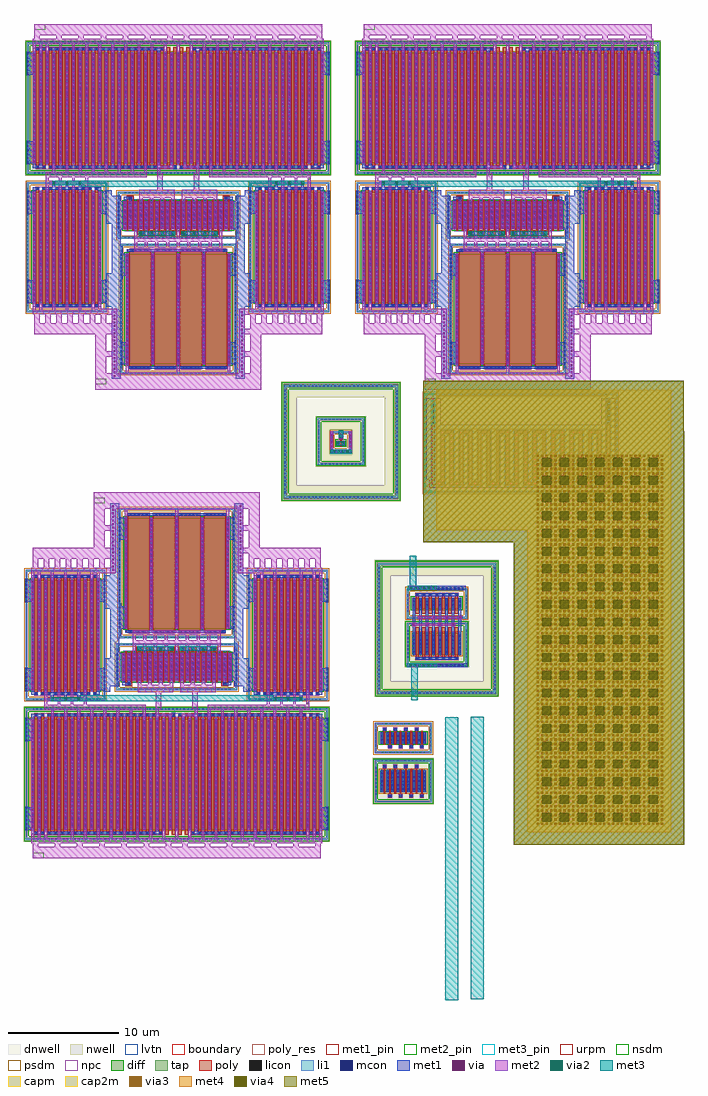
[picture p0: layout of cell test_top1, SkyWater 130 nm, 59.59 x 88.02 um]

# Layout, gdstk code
import gdstk
lib = gdstk.Library(unit=1e-6, precision=1e-09)
def R(c, l, rs):  # rectangles x0, y0, x1, y1
    for r in rs: c.add(gdstk.rectangle(r[:2], r[2:], *l))
def A(c, l, x, y, w, h, nx, ny, dx, dy):  # array of equal rectangles
    R(c, l, [(x+i*dx, y+j*dy, x+i*dx+w, y+j*dy+h) for i in range(nx) for j in range(ny)])
dnwell = (64, 18)
nwell = (64, 20)
diff = (65, 20)
tap = (65, 44)
poly_res = (66, 13)
poly = (66, 20)
licon = (66, 44)
li1 = (67, 20)
mcon = (67, 44)
met1_pin = (68, 16)
met1 = (68, 20)
via = (68, 44)
met2_pin = (69, 16)
met2 = (69, 20)
via2 = (69, 44)
met3_pin = (70, 16)
met3 = (70, 20)
via3 = (70, 44)
met4 = (71, 20)
via4 = (71, 44)
met5 = (72, 20)
urpm = (79, 20)
capm = (89, 44)
nsdm = (93, 44)
psdm = (94, 20)
npc = (95, 20)
cap2m = (97, 44)
lvtn = (125, 44)
boundary = (235, 4)

sky130_fd_pr__pfet_01v8_ = lib.new_cell('sky130_fd_pr__pfet_01v8_U4PWGH')
R(sky130_fd_pr__pfet_01v8_, nwell, [(-2.755,-2.095,2.755,2.095)])
R(sky130_fd_pr__pfet_01v8_, diff, [(-2.065,-1,2.065,1)])
R(sky130_fd_pr__pfet_01v8_, tap, [(-2.575,-1.915,2.575,-1.745), (-2.575,-1.745,-2.405,1.745), (2.405,-1.745,2.575,1.745), (-2.575,1.745,2.575,1.915)])
A(sky130_fd_pr__pfet_01v8_, poly, -1.845, -1.485, 0.33, 0.33, 4, 1, 0.96, 0)
A(sky130_fd_pr__pfet_01v8_, poly, -1.755, -1.155, 0.15, 2.285, 4, 1, 0.96, 0)
A(sky130_fd_pr__pfet_01v8_, poly, -1.275, -1.13, 0.15, 2.285, 4, 1, 0.96, 0)
A(sky130_fd_pr__pfet_01v8_, poly, -1.365, 1.155, 0.33, 0.33, 4, 1, 0.96, 0)
A(sky130_fd_pr__pfet_01v8_, licon, -1.955, -1.915, 0.17, 0.17, 12, 2, 0.34, 3.66)
A(sky130_fd_pr__pfet_01v8_, licon, -1.765, -1.405, 0.17, 0.17, 4, 1, 0.96, 0)
A(sky130_fd_pr__pfet_01v8_, licon, -2.575, -1.275, 0.17, 0.17, 1, 8, 0, 0.34)
A(sky130_fd_pr__pfet_01v8_, licon, 2.405, -1.275, 0.17, 0.17, 1, 8, 0, 0.34)
A(sky130_fd_pr__pfet_01v8_, licon, -2.005, -0.935, 0.17, 0.17, 9, 6, 0.48, 0.34)
A(sky130_fd_pr__pfet_01v8_, licon, -1.285, 1.235, 0.17, 0.17, 4, 1, 0.96, 0)
A(sky130_fd_pr__pfet_01v8_, li1, -1.845, -1.405, 0.33, 0.17, 4, 1, 0.96, 0)
A(sky130_fd_pr__pfet_01v8_, li1, -2.005, -1.02, 0.17, 2.04, 9, 1, 0.48, 0)
A(sky130_fd_pr__pfet_01v8_, li1, -1.365, 1.235, 0.33, 0.17, 4, 1, 0.96, 0)
R(sky130_fd_pr__pfet_01v8_, li1, [(-2.575,-1.915,2.575,-1.745), (-2.575,-1.745,-2.405,1.745), (2.405,-1.745,2.575,1.745), (-2.575,1.745,2.575,1.915)])
A(sky130_fd_pr__pfet_01v8_, mcon, -1.765, -1.405, 0.17, 0.17, 4, 1, 0.96, 0)
A(sky130_fd_pr__pfet_01v8_, mcon, -2.005, -0.805, 0.17, 0.17, 9, 5, 0.48, 0.36)
A(sky130_fd_pr__pfet_01v8_, mcon, -1.285, 1.235, 0.17, 0.17, 4, 1, 0.96, 0)
A(sky130_fd_pr__pfet_01v8_, met1, -1.825, -1.435, 0.29, 0.23, 4, 1, 0.96, 0)
A(sky130_fd_pr__pfet_01v8_, met1, -2.035, -1, 0.23, 2, 9, 1, 0.48, 0)
A(sky130_fd_pr__pfet_01v8_, met1, -1.345, 1.205, 0.29, 0.23, 4, 1, 0.96, 0)
R(sky130_fd_pr__pfet_01v8_, nsdm, [(-2.7,-2.04,2.7,-1.62), (-2.7,-1.62,-2.28,1.62), (2.28,-1.62,2.7,1.62), (-2.7,1.62,2.7,2.04)])
R(sky130_fd_pr__pfet_01v8_, psdm, [(-2.19,-1.125,2.19,1.125)])
A(sky130_fd_pr__pfet_01v8_, npc, -1.865, -1.505, 0.37, 0.37, 4, 1, 0.96, 0)
A(sky130_fd_pr__pfet_01v8_, npc, -1.385, 1.135, 0.37, 0.37, 4, 1, 0.96, 0)
R(sky130_fd_pr__pfet_01v8_, boundary, [(-2.49,-1.83,2.49,1.83)])

sky130_fd_pr__nfet_01v8_ = lib.new_cell('sky130_fd_pr__nfet_01v8_NMSMYT')
R(sky130_fd_pr__nfet_01v8_, diff, [(-2.065,-0.5,2.065,0.5)])
R(sky130_fd_pr__nfet_01v8_, tap, [(-2.575,-1.37,2.575,-1.2), (-2.575,-1.2,-2.405,1.2), (2.405,-1.2,2.575,1.2), (-2.575,1.2,2.575,1.37)])
A(sky130_fd_pr__nfet_01v8_, poly, -1.845, -0.94, 0.33, 0.33, 4, 1, 0.96, 0)
A(sky130_fd_pr__nfet_01v8_, poly, -1.275, -0.63, 0.15, 1.24, 4, 1, 0.96, 0)
A(sky130_fd_pr__nfet_01v8_, poly, -1.755, -0.61, 0.15, 1.24, 4, 1, 0.96, 0)
A(sky130_fd_pr__nfet_01v8_, poly, -1.365, 0.61, 0.33, 0.33, 4, 1, 0.96, 0)
A(sky130_fd_pr__nfet_01v8_, licon, -1.955, -1.37, 0.17, 0.17, 12, 2, 0.34, 2.57)
A(sky130_fd_pr__nfet_01v8_, licon, -1.765, -0.86, 0.17, 0.17, 4, 1, 0.96, 0)
A(sky130_fd_pr__nfet_01v8_, licon, -2.575, -0.765, 0.17, 0.17, 1, 5, 0, 0.34)
A(sky130_fd_pr__nfet_01v8_, licon, 2.405, -0.765, 0.17, 0.17, 1, 5, 0, 0.34)
A(sky130_fd_pr__nfet_01v8_, licon, -2.005, -0.425, 0.17, 0.17, 9, 3, 0.48, 0.34)
A(sky130_fd_pr__nfet_01v8_, licon, -1.285, 0.69, 0.17, 0.17, 4, 1, 0.96, 0)
A(sky130_fd_pr__nfet_01v8_, li1, -1.845, -0.86, 0.33, 0.17, 4, 1, 0.96, 0)
A(sky130_fd_pr__nfet_01v8_, li1, -2.005, -0.52, 0.17, 1.04, 9, 1, 0.48, 0)
A(sky130_fd_pr__nfet_01v8_, li1, -1.365, 0.69, 0.33, 0.17, 4, 1, 0.96, 0)
R(sky130_fd_pr__nfet_01v8_, li1, [(-2.575,-1.37,2.575,-1.2), (-2.575,-1.2,-2.405,1.2), (2.405,-1.2,2.575,1.2), (-2.575,1.2,2.575,1.37)])
A(sky130_fd_pr__nfet_01v8_, mcon, -1.765, -0.86, 0.17, 0.17, 4, 1, 0.96, 0)
A(sky130_fd_pr__nfet_01v8_, mcon, -2.005, -0.265, 0.17, 0.17, 9, 2, 0.48, 0.36)
A(sky130_fd_pr__nfet_01v8_, mcon, -1.285, 0.69, 0.17, 0.17, 4, 1, 0.96, 0)
A(sky130_fd_pr__nfet_01v8_, met1, -1.825, -0.89, 0.29, 0.23, 4, 1, 0.96, 0)
A(sky130_fd_pr__nfet_01v8_, met1, -2.035, -0.5, 0.23, 1, 9, 1, 0.48, 0)
A(sky130_fd_pr__nfet_01v8_, met1, -1.345, 0.66, 0.29, 0.23, 4, 1, 0.96, 0)
R(sky130_fd_pr__nfet_01v8_, nsdm, [(-2.19,-0.625,2.19,0.625)])
R(sky130_fd_pr__nfet_01v8_, psdm, [(-2.7,-1.495,2.7,-1.075), (-2.7,-1.075,-2.28,1.075), (2.28,-1.075,2.7,1.075), (-2.7,1.075,2.7,1.495)])
A(sky130_fd_pr__nfet_01v8_, npc, -1.865, -0.96, 0.37, 0.37, 4, 1, 0.96, 0)
A(sky130_fd_pr__nfet_01v8_, npc, -1.385, 0.59, 0.37, 0.37, 4, 1, 0.96, 0)
R(sky130_fd_pr__nfet_01v8_, boundary, [(-2.49,-1.285,2.49,1.285)])

cmota_1_flat_1 = lib.new_cell('cmota_1_flat_1')
R(cmota_1_flat_1, nwell, [(-0.815,0.33,26.815,12.52)])
R(cmota_1_flat_1, diff, [(8.275,-16.7,17.725,-6.7), (-0.13,-11.12,6.06,-1.12), (19.935,-11.12,26.125,-1.12), (8.055,-4.5,17.945,-2), (-0.125,1.425,26.125,11.425)])
R(cmota_1_flat_1, tap, [(7.765,-17.57,18.235,-17.4), (7.765,-17.4,7.935,-6), (18.065,-17.4,18.235,-6), (-0.64,-11.99,6.57,-11.82), (19.425,-11.99,26.635,-11.82), (-0.64,-11.82,-0.47,-0.42), (6.4,-11.82,6.57,-0.42), (19.425,-11.82,19.595,-0.42), (26.465,-11.82,26.635,-0.42), (7.765,-6,18.235,-5.83), (7.545,-5.37,18.455,-5.2), (7.545,-5.2,7.715,-1.3), (18.285,-5.2,18.455,-1.3), (7.545,-1.3,18.455,-1.13), (-0.64,-0.42,6.57,-0.25), (19.425,-0.42,26.635,-0.25), (-0.635,0.51,26.635,0.68), (-0.635,0.68,-0.465,12.17), (26.465,0.68,26.635,12.17), (-0.635,12.17,26.635,12.34)])
A(cmota_1_flat_1, poly, 8.565, -17.14, 2, 10.88, 4, 1, 2.29, 0)
A(cmota_1_flat_1, poly, 0.145, -11.56, 0.33, 0.33, 10, 2, 0.59, 10.55)
A(cmota_1_flat_1, poly, 20.21, -11.56, 0.33, 0.33, 10, 2, 0.59, 10.55)
A(cmota_1_flat_1, poly, 0.16, -11.23, 0.3, 10.22, 10, 1, 0.59, 0)
A(cmota_1_flat_1, poly, 20.225, -11.23, 0.3, 10.22, 10, 1, 0.59, 0)
A(cmota_1_flat_1, poly, 9.325, -5, 0.63, 0.39, 8, 1, 0.96, 0)
A(cmota_1_flat_1, poly, 9.325, -4.61, 0.15, 2.74, 16, 1, 0.48, 0)
A(cmota_1_flat_1, poly, 0.15, 0.94, 0.33, 0.33, 44, 2, 0.59, 10.64)
A(cmota_1_flat_1, poly, 0.165, 1.27, 0.3, 10.31, 44, 1, 0.59, 0)
R(cmota_1_flat_1, poly, [(8.365,-4.63,8.515,-1.87), (8.845,-4.63,8.995,-1.87), (17.005,-4.63,17.155,-1.87), (17.485,-4.63,17.635,-1.87), (8.365,-1.87,8.995,-1.48), (17.005,-1.87,17.635,-1.48)])
A(cmota_1_flat_1, licon, 8.325, -17.57, 0.17, 0.17, 28, 2, 0.34, 11.57)
A(cmota_1_flat_1, licon, 8.8, -17.06, 0.17, 0.17, 5, 2, 0.34, 10.55)
A(cmota_1_flat_1, licon, 11.09, -17.06, 0.17, 0.17, 5, 2, 0.34, 10.55)
A(cmota_1_flat_1, licon, 13.38, -17.06, 0.17, 0.17, 5, 2, 0.34, 10.55)
A(cmota_1_flat_1, licon, 15.67, -17.06, 0.17, 0.17, 5, 2, 0.34, 10.55)
A(cmota_1_flat_1, licon, 7.765, -17.055, 0.17, 0.17, 1, 32, 0, 0.34)
A(cmota_1_flat_1, licon, 18.065, -17.055, 0.17, 0.17, 1, 32, 0, 0.34)
A(cmota_1_flat_1, licon, 8.335, -16.545, 0.17, 0.17, 5, 29, 2.29, 0.34)
A(cmota_1_flat_1, licon, -0.01, -11.99, 0.17, 0.17, 18, 2, 0.34, 11.57)
A(cmota_1_flat_1, licon, 20.055, -11.99, 0.17, 0.17, 18, 2, 0.34, 11.57)
A(cmota_1_flat_1, licon, 0.225, -11.48, 0.17, 0.17, 10, 2, 0.59, 10.55)
A(cmota_1_flat_1, licon, 20.29, -11.48, 0.17, 0.17, 10, 2, 0.59, 10.55)
A(cmota_1_flat_1, licon, -0.64, -11.475, 0.17, 0.17, 1, 32, 0, 0.34)
A(cmota_1_flat_1, licon, 6.4, -11.475, 0.17, 0.17, 1, 32, 0, 0.34)
A(cmota_1_flat_1, licon, 19.425, -11.475, 0.17, 0.17, 1, 32, 0, 0.34)
A(cmota_1_flat_1, licon, 26.465, -11.475, 0.17, 0.17, 1, 32, 0, 0.34)
A(cmota_1_flat_1, licon, -0.07, -10.965, 0.17, 0.17, 11, 29, 0.59, 0.34)
A(cmota_1_flat_1, licon, 19.995, -10.965, 0.17, 0.17, 11, 29, 0.59, 0.34)
A(cmota_1_flat_1, licon, 8.155, -5.37, 0.17, 0.17, 29, 2, 0.34, 4.07)
A(cmota_1_flat_1, licon, 9.555, -4.92, 0.17, 0.17, 8, 1, 0.96, 0)
A(cmota_1_flat_1, licon, 7.545, -4.865, 0.17, 0.17, 1, 10, 0, 0.34)
A(cmota_1_flat_1, licon, 18.285, -4.865, 0.17, 0.17, 1, 10, 0, 0.34)
A(cmota_1_flat_1, licon, 8.115, -4.355, 0.17, 0.17, 21, 7, 0.48, 0.34)
A(cmota_1_flat_1, licon, -0.005, 0.51, 0.17, 0.17, 77, 2, 0.34, 11.66)
A(cmota_1_flat_1, licon, 0.23, 1.02, 0.17, 0.17, 44, 1, 0.59, 0)
A(cmota_1_flat_1, licon, -0.635, 1.07, 0.17, 0.17, 1, 32, 0, 0.34)
A(cmota_1_flat_1, licon, 26.465, 1.07, 0.17, 0.17, 1, 32, 0, 0.34)
A(cmota_1_flat_1, licon, -0.065, 1.58, 0.17, 0.17, 45, 29, 0.59, 0.34)
A(cmota_1_flat_1, licon, 0.23, 11.66, 0.17, 0.17, 20, 1, 0.59, 0)
A(cmota_1_flat_1, licon, 14.39, 11.66, 0.17, 0.17, 20, 1, 0.59, 0)
R(cmota_1_flat_1, licon, [(8.595,-1.79,8.765,-1.62), (17.235,-1.79,17.405,-1.62)])
A(cmota_1_flat_1, li1, 8.565, -17.06, 2, 0.17, 4, 2, 2.29, 10.55)
A(cmota_1_flat_1, li1, 8.335, -16.72, 0.17, 10.04, 5, 1, 2.29, 0)
A(cmota_1_flat_1, li1, 0.145, -11.48, 0.33, 0.17, 10, 2, 0.59, 10.55)
A(cmota_1_flat_1, li1, 20.21, -11.48, 0.33, 0.17, 10, 2, 0.59, 10.55)
A(cmota_1_flat_1, li1, -0.07, -11.14, 0.17, 10.04, 11, 1, 0.59, 0)
A(cmota_1_flat_1, li1, 19.995, -11.14, 0.17, 10.04, 11, 1, 0.59, 0)
A(cmota_1_flat_1, li1, 9.475, -4.92, 0.33, 0.17, 8, 1, 0.96, 0)
A(cmota_1_flat_1, li1, 8.115, -4.52, 0.17, 2.54, 21, 1, 0.48, 0)
A(cmota_1_flat_1, li1, 0.15, 1.02, 0.33, 0.17, 44, 1, 0.59, 0)
A(cmota_1_flat_1, li1, -0.065, 1.405, 0.17, 10.04, 45, 1, 0.59, 0)
A(cmota_1_flat_1, li1, 0.15, 11.66, 0.33, 0.17, 20, 1, 0.59, 0)
A(cmota_1_flat_1, li1, 14.31, 11.66, 0.33, 0.17, 20, 1, 0.59, 0)
R(cmota_1_flat_1, li1, [(7.765,-17.57,18.235,-17.4), (7.765,-17.4,7.935,-6), (18.065,-17.4,18.235,-6), (-0.64,-11.99,6.57,-11.82), (19.425,-11.99,26.635,-11.82), (-0.64,-11.82,-0.47,-0.42), (6.4,-11.82,6.57,-0.42), (19.425,-11.82,19.595,-0.42), (26.465,-11.82,26.635,-0.42), (7.765,-6,18.235,-5.83), (7.545,-5.37,18.455,-5.2), (7.545,-5.2,7.715,-1.3), (18.285,-5.2,18.455,-1.3), (8.515,-1.79,8.845,-1.62), (17.155,-1.79,17.485,-1.62), (7.545,-1.3,18.455,-1.13), (-0.64,-0.42,6.57,-0.25), (19.425,-0.42,26.635,-0.25), (-0.635,0.51,26.635,0.68), (-0.635,0.68,-0.465,12.17), (26.465,0.68,26.635,12.17), (-0.635,12.17,26.635,12.34)])
A(cmota_1_flat_1, mcon, 8.76, -17.06, 0.17, 0.17, 5, 2, 0.36, 10.55)
A(cmota_1_flat_1, mcon, 11.05, -17.06, 0.17, 0.17, 5, 2, 0.36, 10.55)
A(cmota_1_flat_1, mcon, 13.34, -17.06, 0.17, 0.17, 5, 2, 0.36, 10.55)
A(cmota_1_flat_1, mcon, 15.63, -17.06, 0.17, 0.17, 5, 2, 0.36, 10.55)
A(cmota_1_flat_1, mcon, 7.765, -16.685, 0.17, 0.17, 1, 6, 0, 0.36)
A(cmota_1_flat_1, mcon, 18.065, -16.685, 0.17, 0.17, 1, 6, 0, 0.36)
A(cmota_1_flat_1, mcon, 8.335, -16.465, 0.17, 0.17, 5, 27, 2.29, 0.36)
A(cmota_1_flat_1, mcon, 0.225, -11.48, 0.17, 0.17, 10, 2, 0.59, 10.55)
A(cmota_1_flat_1, mcon, 20.29, -11.48, 0.17, 0.17, 10, 2, 0.59, 10.55)
A(cmota_1_flat_1, mcon, -0.64, -11.105, 0.17, 0.17, 1, 6, 0, 0.36)
A(cmota_1_flat_1, mcon, 6.4, -11.105, 0.17, 0.17, 1, 6, 0, 0.36)
A(cmota_1_flat_1, mcon, 19.425, -11.105, 0.17, 0.17, 1, 6, 0, 0.36)
A(cmota_1_flat_1, mcon, 26.465, -11.105, 0.17, 0.17, 1, 6, 0, 0.36)
A(cmota_1_flat_1, mcon, -0.07, -10.885, 0.17, 0.17, 11, 27, 0.59, 0.36)
A(cmota_1_flat_1, mcon, 19.995, -10.885, 0.17, 0.17, 11, 27, 0.59, 0.36)
A(cmota_1_flat_1, mcon, 7.765, -8.685, 0.17, 0.17, 1, 6, 0, 0.36)
A(cmota_1_flat_1, mcon, 18.065, -8.685, 0.17, 0.17, 1, 6, 0, 0.36)
A(cmota_1_flat_1, mcon, 9.555, -4.92, 0.17, 0.17, 8, 1, 0.96, 0)
A(cmota_1_flat_1, mcon, 7.545, -4.415, 0.17, 0.17, 1, 7, 0, 0.36)
A(cmota_1_flat_1, mcon, 8.115, -4.415, 0.17, 0.17, 21, 7, 0.48, 0.36)
A(cmota_1_flat_1, mcon, 18.285, -4.415, 0.17, 0.17, 1, 7, 0, 0.36)
A(cmota_1_flat_1, mcon, -0.64, -3.105, 0.17, 0.17, 1, 6, 0, 0.36)
A(cmota_1_flat_1, mcon, 6.4, -3.105, 0.17, 0.17, 1, 6, 0, 0.36)
A(cmota_1_flat_1, mcon, 19.425, -3.105, 0.17, 0.17, 1, 6, 0, 0.36)
A(cmota_1_flat_1, mcon, 26.465, -3.105, 0.17, 0.17, 1, 6, 0, 0.36)
A(cmota_1_flat_1, mcon, 0.23, 1.02, 0.17, 0.17, 44, 1, 0.59, 0)
A(cmota_1_flat_1, mcon, -0.635, 1.44, 0.17, 0.17, 1, 6, 0, 0.36)
A(cmota_1_flat_1, mcon, 26.465, 1.44, 0.17, 0.17, 1, 6, 0, 0.36)
A(cmota_1_flat_1, mcon, -0.065, 1.66, 0.17, 0.17, 45, 27, 0.59, 0.36)
A(cmota_1_flat_1, mcon, -0.635, 9.44, 0.17, 0.17, 1, 6, 0, 0.36)
A(cmota_1_flat_1, mcon, 26.465, 9.44, 0.17, 0.17, 1, 6, 0, 0.36)
A(cmota_1_flat_1, mcon, 0.23, 11.66, 0.17, 0.17, 20, 1, 0.59, 0)
A(cmota_1_flat_1, mcon, 14.39, 11.66, 0.17, 0.17, 20, 1, 0.59, 0)
R(cmota_1_flat_1, mcon, [(8.595,-1.79,8.765,-1.62), (17.235,-1.79,17.405,-1.62)])
R(cmota_1_flat_1, met1_pin, [(8.36,-6.54,8.485,-6.31)])
A(cmota_1_flat_1, met1, 10.58, -16.7, 0.26, 10, 3, 1, 2.29, 0)
A(cmota_1_flat_1, met1, 0.475, -11.12, 0.26, 10, 9, 1, 0.59, 0)
A(cmota_1_flat_1, met1, 20.54, -11.12, 0.26, 10, 9, 1, 0.59, 0)
A(cmota_1_flat_1, met1, 9.445, -5, 0.39, 0.28, 8, 1, 0.96, 0)
A(cmota_1_flat_1, met1, 8.515, -4.5, 0.33, 2.5, 19, 1, 0.48, 0)
A(cmota_1_flat_1, met1, 1.655, -0.73, 0.26, 0.55, 3, 1, 1.18, 0)
A(cmota_1_flat_1, met1, 21.72, -0.73, 0.26, 0.55, 3, 1, 1.18, 0)
A(cmota_1_flat_1, met1, 1.07, 1.425, 0.26, 10, 17, 1, 0.59, 0)
A(cmota_1_flat_1, met1, 11.69, 1.425, 0.26, 10, 4, 1, 1.18, 0)
A(cmota_1_flat_1, met1, 15.82, 1.425, 0.26, 10, 16, 1, 0.59, 0)
R(cmota_1_flat_1, met1, [(7,-18,7.8,-16.76), (18.2,-18,19,-16.76), (8.585,-17.09,17.415,-16.86), (7,-16.76,7.965,-16.7), (18.035,-16.76,19,-16.7), (7,-16.7,8.55,-14.7), (17.45,-16.7,19,-14.7), (7,-14.7,7.965,-14.64), (8.29,-14.7,8.55,-8.7), (17.45,-14.7,17.71,-8.7), (18.035,-14.7,19,-14.64), (7,-14.64,7.8,-11.5), (18.2,-14.64,19,-11.5), (-0.115,-11.51,0.455,-11.28), (0.755,-11.51,5.175,-11.28), (5.475,-11.51,6.045,-11.28), (19.95,-11.51,20.52,-11.28), (20.82,-11.51,25.24,-11.28), (25.54,-11.51,26.11,-11.28), (6.5,-11.5,7.8,-11.18), (18.2,-11.5,19.5,-11.18), (-0.115,-11.28,0.145,-11.12), (5.785,-11.28,6.045,-11.12), (19.95,-11.28,20.21,-11.12), (25.85,-11.28,26.11,-11.12), (-0.67,-11.18,-0.44,-11.12), (6.37,-11.18,7.8,-11.12), (18.2,-11.18,19.625,-11.12), (26.435,-11.18,26.665,-11.12), (-0.67,-11.12,0.145,-9.12), (5.785,-11.12,7.8,-9.12), (18.2,-11.12,20.21,-9.12), (25.85,-11.12,26.665,-9.12), (-0.67,-9.12,-0.44,-9.06), (-0.115,-9.12,0.145,-3.12), (5.785,-9.12,6.045,-3.12), (6.37,-9.12,7.8,-9.06), (18.2,-9.12,19.625,-9.06), (19.95,-9.12,20.21,-3.12), (25.85,-9.12,26.11,-3.12), (26.435,-9.12,26.665,-9.06), (6.5,-9.06,7.8,-9), (18.2,-9.06,19.5,-8.76), (6.5,-9,8,-8.7), (18.035,-8.76,19.5,-8.7), (6.5,-8.7,8.55,-8.5), (17.45,-8.7,19.5,-8.5), (7,-8.5,8.55,-6.7), (17.45,-8.5,19,-6.7), (7,-6.7,8,-6), (18.035,-6.7,19,-6.64), (18.2,-6.64,19,-4.5), (8.36,-6.54,17.415,-6.31), (7,-6,7.8,-4.5), (7,-4.5,8.365,-4), (17.635,-4.5,19,-4), (6.5,-4,8.365,-3.18), (17.635,-4,19.5,-3.18), (-0.67,-3.18,-0.44,-3.12), (6.37,-3.18,8.365,-3.12), (17.635,-3.18,19.625,-3.12), (26.435,-3.18,26.665,-3.12), (-0.67,-3.12,0.145,-1.12), (5.785,-3.12,8.365,-2), (17.635,-3.12,20.21,-2), (25.85,-3.12,26.665,-1.12), (5.785,-2,7.8,-1.5), (8.085,-2,8.315,-1.82), (8.565,-2,8.795,-1.82), (17.205,-2,17.435,-1.82), (17.685,-2,17.915,-1.82), (18.2,-2,20.21,-1.5), (8.085,-1.82,8.845,-1.59), (17.155,-1.82,17.915,-1.59), (5.785,-1.5,7,-1.12), (19,-1.5,20.21,-1.12), (-0.67,-1.12,-0.44,-1.06), (-0.115,-1.12,0.145,-0.96), (5.785,-1.12,6.045,-0.96), (6.37,-1.12,7,-1.06), (19,-1.12,19.625,-1.06), (19.95,-1.12,20.21,-0.96), (25.85,-1.12,26.11,-0.96), (26.435,-1.12,26.665,-1.06), (6.5,-1.06,7,-1), (19,-1.06,19.5,-1), (-0.115,-0.96,0.455,-0.73), (0.755,-0.96,5.175,-0.73), (5.475,-0.96,6.045,-0.73), (19.95,-0.96,20.52,-0.73), (20.82,-0.96,25.24,-0.73), (25.54,-0.96,26.11,-0.73), (12.54,0.905,12.87,0.99), (13.15,0.935,13.445,0.99), (-0.11,0.99,1.05,1.22), (1.35,0.99,12.87,1.22), (13.15,0.99,24.65,1.22), (24.95,0.99,26.11,1.22), (-0.11,1.22,0.15,1.425), (0.48,1.22,0.74,11.63), (11.1,1.22,11.36,11.63), (12.28,1.22,12.87,1.25), (13.46,1.22,13.72,11.425), (14.64,1.22,14.9,11.63), (25.26,1.22,25.52,11.63), (25.85,1.22,26.11,1.425), (12.28,1.25,12.54,11.425), (-0.665,1.365,-0.435,1.425), (26.435,1.365,26.665,1.425), (-0.665,1.425,0.15,3.425), (25.85,1.425,26.665,3.425), (-0.665,3.425,-0.435,3.485), (-0.11,3.425,0.15,9.425), (25.85,3.425,26.11,9.425), (26.435,3.425,26.665,3.485), (-0.665,9.365,-0.435,9.425), (26.435,9.365,26.665,9.425), (-0.665,9.425,0.15,11.425), (25.85,9.425,26.665,11.425), (-0.665,11.425,-0.435,11.485), (-0.11,11.425,0.15,11.63), (25.85,11.425,26.11,11.63), (26.435,11.425,26.665,11.485), (-0.11,11.63,1.05,11.86), (1.35,11.63,11.67,11.86), (14.33,11.63,24.65,11.86), (24.95,11.63,26.11,11.86)])
A(cmota_1_flat_1, via, 7.175, -17.805, 0.15, 0.15, 1, 19, 0, 0.32)
A(cmota_1_flat_1, via, 18.675, -17.805, 0.15, 0.15, 1, 19, 0, 0.32)
A(cmota_1_flat_1, via, 8.345, -16.575, 0.15, 0.15, 5, 31, 2.29, 0.32)
A(cmota_1_flat_1, via, -0.06, -10.995, 0.15, 0.15, 11, 31, 0.59, 0.32)
A(cmota_1_flat_1, via, 20.005, -10.995, 0.15, 0.15, 11, 31, 0.59, 0.32)
A(cmota_1_flat_1, via, 9.565, -4.935, 0.15, 0.15, 8, 1, 0.96, 0)
A(cmota_1_flat_1, via, 8.125, -4.445, 0.15, 0.15, 21, 8, 0.48, 0.32)
A(cmota_1_flat_1, via, 1.71, -0.415, 0.15, 0.15, 3, 1, 1.18, 0)
A(cmota_1_flat_1, via, 21.775, -0.415, 0.15, 0.15, 3, 1, 1.18, 0)
A(cmota_1_flat_1, via, -0.055, 1.55, 0.15, 0.15, 45, 31, 0.59, 0.32)
R(cmota_1_flat_1, met2_pin, [(5.5,-18.5,6.5,-18), (24.7,-0.05,24.9,0.15), (0,13.5,1,14)])
A(cmota_1_flat_1, met2, 8.29, -17.4, 0.26, 10.7, 3, 1, 4.58, 0)
A(cmota_1_flat_1, met2, 0, -13, 0.5, 0.83, 5, 1, 1, 0)
A(cmota_1_flat_1, met2, 5, -13, 0.5, 0.8, 3, 1, 1, 0)
A(cmota_1_flat_1, met2, 21.5, -13, 0.5, 0.83, 5, 1, 1, 0)
A(cmota_1_flat_1, met2, 0.475, -11.82, 0.26, 10.7, 4, 1, 1.18, 0)
A(cmota_1_flat_1, met2, 21.72, -11.82, 0.26, 10.7, 4, 1, 1.18, 0)
A(cmota_1_flat_1, met2, 1.065, -11.12, 0.26, 10.595, 4, 1, 1.18, 0)
A(cmota_1_flat_1, met2, 21.13, -11.12, 0.26, 11.29, 4, 1, 1.18, 0)
A(cmota_1_flat_1, met2, 9.025, -6.08, 0.27, 0.43, 9, 1, 0.96, 0)
A(cmota_1_flat_1, met2, 9.025, -5.3, 0.27, 0.8, 9, 1, 0.96, 0)
A(cmota_1_flat_1, met2, 9.475, -5.1, 0.33, 0.41, 8, 1, 0.96, 0)
A(cmota_1_flat_1, met2, 8.035, -4.5, 0.33, 2.5, 3, 1, 0.48, 0)
A(cmota_1_flat_1, met2, 9.475, -4.5, 0.33, 2.85, 8, 1, 0.96, 0)
A(cmota_1_flat_1, met2, 9.955, -4.5, 0.33, 2.5, 8, 1, 0.96, 0)
A(cmota_1_flat_1, met2, 21.695, -0.525, 0.305, 0.37, 3, 1, 1.18, 0)
A(cmota_1_flat_1, met2, 1.065, -0.155, 0.26, 0.325, 4, 1, 1.18, 0)
A(cmota_1_flat_1, met2, 1.66, 0.68, 0.26, 10.745, 8, 1, 1.18, 0)
A(cmota_1_flat_1, met2, 15.815, 0.68, 0.26, 0.745, 8, 1, 1.18, 0)
A(cmota_1_flat_1, met2, 11.1, 1.22, 0.26, 10.205, 4, 1, 1.18, 0)
A(cmota_1_flat_1, met2, -0.11, 1.425, 0.26, 10.745, 3, 1, 0.59, 0)
A(cmota_1_flat_1, met2, 2.25, 1.425, 0.26, 10.745, 9, 1, 1.18, 0)
A(cmota_1_flat_1, met2, 14.05, 1.425, 0.26, 10.745, 11, 1, 1.18, 0)
A(cmota_1_flat_1, met2, 15.815, 1.425, 0.265, 0.4, 9, 1, 1.18, 0)
A(cmota_1_flat_1, met2, 15.82, 1.825, 0.26, 9.6, 8, 1, 1.18, 0)
A(cmota_1_flat_1, met2, 0, 12.68, 0.5, 0.32, 7, 1, 2, 0)
A(cmota_1_flat_1, met2, 13.5, 12.68, 0.5, 0.32, 7, 1, 2, 0)
R(cmota_1_flat_1, met2, [(5.5,-19,20.5,-17.5), (5.5,-17.5,6.5,-16), (7,-17.5,7.5,-16), (8.29,-17.5,17.71,-17.4), (18.5,-17.5,19,-16), (19.5,-17.5,20.5,-16), (10.58,-16.7,10.84,-6.54), (15.16,-16.7,15.42,-6.54), (5.5,-16,7.5,-15.5), (18.5,-16,20.5,-15.5), (5.5,-15.5,6.5,-14), (7,-15.5,7.5,-14), (18.5,-15.5,19,-14), (19.5,-15.5,20.5,-14), (0,-14,7.5,-13), (18.5,-14,26,-13.5), (18.5,-13.5,19,-12.2), (19.5,-13.5,26,-13), (19.5,-13,20,-12.2), (20.5,-13,21,-12.2), (5,-12.2,7.5,-12.17), (18.5,-12.2,21,-12.17), (-0.115,-12.17,7.5,-11.82), (18.5,-12.17,26.11,-11.82), (-0.115,-11.82,0.145,-1.12), (5.195,-11.82,7.5,-11.7), (18.5,-11.82,20.8,-11.7), (25.85,-11.82,26.11,-1.12), (5.195,-11.7,5.455,-1.12), (5.785,-11.7,6.045,-1.12), (19.95,-11.7,20.21,-1.12), (20.54,-11.7,20.8,-1.12), (9.025,-6.54,16.975,-6.08), (9.025,-5.65,16.975,-5.3), (17.155,-4.5,17.485,-2), (17.635,-4.5,17.965,-2), (9.475,-1.65,12.685,-0.95), (13.315,-1.65,16.525,-0.95), (11.1,-0.95,11.62,0.525), (14.38,-0.95,14.9,0.525), (1.065,-0.525,4.865,-0.155), (1.065,0.17,10.18,0.68), (15.815,0.17,24.93,0.68), (11.1,0.525,11.36,0.99), (14.64,0.525,14.9,0.99), (11.1,0.99,12.54,1.22), (13.46,0.99,14.9,1.22), (12.87,1.42,13.13,12.17), (25.26,1.825,25.52,12.17), (-0.11,12.17,26.11,12.68), (0,13,26,14)])
A(cmota_1_flat_1, via2, 9.54, -4.99, 0.2, 0.2, 8, 1, 0.96, 0)
A(cmota_1_flat_1, via2, 1.685, -0.44, 0.2, 0.2, 3, 1, 1.18, 0)
A(cmota_1_flat_1, via2, 21.75, -0.44, 0.2, 0.2, 3, 1, 1.18, 0)
R(cmota_1_flat_1, met3_pin, [(9.5,-5.05,9.8,-4.75), (16.2,-5.05,16.5,-4.75)])
R(cmota_1_flat_1, met3, [(9.445,-5.1,12.715,-4.69), (13.285,-5.1,16.555,-4.69), (4.3,-0.68,21.695,-0.525), (1.62,-0.525,24.375,-0.155)])
R(cmota_1_flat_1, nsdm, [(8.15,-16.825,17.85,-6.575), (-0.255,-11.245,6.185,-0.995), (19.81,-11.245,26.25,-0.995), (7.93,-4.625,18.07,-1.875), (-0.76,0.385,26.76,0.805), (-0.76,0.805,-0.34,12.045), (26.34,0.805,26.76,12.045), (-0.76,12.045,26.76,12.465)])
R(cmota_1_flat_1, psdm, [(7.64,-17.695,18.36,-17.275), (7.64,-17.275,8.06,-6.125), (17.94,-17.275,18.36,-6.125), (-0.765,-12.115,6.695,-11.695), (19.3,-12.115,26.76,-11.695), (-0.765,-11.695,-0.345,-0.545), (6.275,-11.695,6.695,-0.545), (19.3,-11.695,19.72,-0.545), (26.34,-11.695,26.76,-0.545), (7.64,-6.125,18.36,-5.495), (7.42,-5.495,18.58,-5.075), (7.42,-5.075,7.84,-1.425), (18.16,-5.075,18.58,-1.425), (7.42,-1.425,18.58,-1.005), (-0.765,-0.545,6.695,-0.125), (19.3,-0.545,26.76,-0.125), (-0.25,1.3,26.25,11.55)])
A(cmota_1_flat_1, npc, 8.7, -17.16, 1.73, 0.37, 4, 2, 2.29, 10.55)
A(cmota_1_flat_1, npc, 9.455, -5.02, 0.37, 0.37, 8, 1, 0.96, 0)
R(cmota_1_flat_1, npc, [(0.125,-11.58,5.805,-11.21), (20.19,-11.58,25.87,-11.21), (8.495,-1.89,8.865,-1.52), (17.135,-1.89,17.505,-1.52), (0.125,-1.03,5.805,-0.66), (20.19,-1.03,25.87,-0.66), (0.13,0.92,25.87,1.29), (0.13,11.56,11.71,11.93), (14.29,11.56,25.87,11.93)])
R(cmota_1_flat_1, lvtn, [(8.185,-4.68,17.815,-1.82)])
cmota_1_flat_1.add(gdstk.Label('VHI', (0.5,13.75), layer=69, texttype=16))
cmota_1_flat_1.add(gdstk.Label('VLO', (6,-18.25), layer=69, texttype=16))
cmota_1_flat_1.add(gdstk.Label('VREF', (8.422,-6.425), layer=68, texttype=16))
cmota_1_flat_1.add(gdstk.Label('VOP', (24.8,0.05), layer=69, texttype=16))
cmota_1_flat_1.add(gdstk.Label('VIP', (16.35,-4.9), layer=70, texttype=16))
cmota_1_flat_1.add(gdstk.Label('VIN', (9.65,-4.9), layer=70, texttype=16))

dnw_test = lib.new_cell('dnw_test')
R(dnw_test, dnwell, [(17.375,3.41,27.775,14.97)])
R(dnw_test, nwell, [(16.975,3.01,28.175,4.44), (16.975,4.44,18.405,13.94), (26.745,4.44,28.175,13.94), (19.675,8.48,25.475,12.67), (16.975,13.94,28.175,15.37)])
R(dnw_test, diff, [(20.365,6.43,24.785,7.43), (20.365,9.575,24.785,11.575)])
R(dnw_test, tap, [(17.16,3.195,27.99,3.565), (17.16,3.565,17.53,14.815), (27.62,3.565,27.99,14.815), (19.855,5.56,25.295,5.73), (19.855,5.73,20.025,8.13), (25.125,5.73,25.295,8.13), (19.855,8.13,25.295,8.3), (19.855,8.66,25.295,8.83), (19.855,8.83,20.025,12.32), (25.125,8.83,25.295,12.32), (19.855,12.32,25.295,12.49), (17.16,14.815,27.99,15.185)])
A(dnw_test, poly, 20.64, 5.99, 0.33, 0.33, 7, 3, 0.59, 1.55)
A(dnw_test, poly, 20.655, 6.32, 0.3, 1.22, 7, 1, 0.59, 0)
A(dnw_test, poly, 20.655, 9.42, 0.3, 2.31, 7, 1, 0.59, 0)
A(dnw_test, poly, 20.64, 11.73, 0.33, 0.33, 7, 1, 0.59, 0)
A(dnw_test, licon, 17.56, 3.295, 0.17, 0.17, 30, 2, 0.34, 11.62)
A(dnw_test, licon, 17.26, 3.665, 0.17, 0.17, 1, 33, 0, 0.34)
A(dnw_test, licon, 27.72, 3.665, 0.17, 0.17, 1, 33, 0, 0.34)
A(dnw_test, licon, 20.45, 5.56, 0.17, 0.17, 13, 2, 0.34, 3.1)
A(dnw_test, licon, 20.72, 6.07, 0.17, 0.17, 7, 2, 0.59, 5.74)
A(dnw_test, licon, 19.855, 6.165, 0.17, 0.17, 1, 5, 0, 0.34)
A(dnw_test, licon, 25.125, 6.165, 0.17, 0.17, 1, 5, 0, 0.34)
A(dnw_test, licon, 20.425, 6.505, 0.17, 0.17, 8, 3, 0.59, 0.34)
A(dnw_test, licon, 20.47, 8.13, 0.17, 0.17, 13, 1, 0.34, 0)
A(dnw_test, licon, 19.855, 9.3, 0.17, 0.17, 1, 8, 0, 0.34)
A(dnw_test, licon, 25.125, 9.3, 0.17, 0.17, 1, 8, 0, 0.34)
A(dnw_test, licon, 20.425, 9.64, 0.17, 0.17, 8, 6, 0.59, 0.34)
A(dnw_test, licon, 20.45, 12.32, 0.17, 0.17, 13, 1, 0.34, 0)
A(dnw_test, li1, 20.64, 6.07, 0.33, 0.17, 7, 2, 0.59, 5.74)
A(dnw_test, li1, 20.425, 6.41, 0.17, 1.04, 8, 1, 0.59, 0)
A(dnw_test, li1, 20.425, 9.555, 0.17, 2.04, 8, 1, 0.59, 0)
R(dnw_test, li1, [(17.26,3.295,27.89,3.465), (17.26,3.465,17.43,14.915), (27.72,3.465,27.89,14.915), (19.96,5.35,25.16,5.56), (19.855,5.56,25.295,5.73), (19.855,5.73,20.025,8.13), (25.125,5.73,25.295,8.13), (19.855,8.13,25.295,8.3), (19.855,8.66,25.295,8.83), (19.855,8.83,20.025,12.32), (25.125,8.83,25.295,12.32), (19.855,12.32,25.3,12.67), (17.26,14.915,27.89,15.085)])
A(dnw_test, mcon, 20.135, 5.465, 0.17, 0.17, 14, 1, 0.36, 0)
A(dnw_test, mcon, 20.72, 6.07, 0.17, 0.17, 7, 2, 0.59, 5.74)
A(dnw_test, mcon, 20.425, 6.665, 0.17, 0.17, 8, 2, 0.59, 0.36)
A(dnw_test, mcon, 20.425, 9.77, 0.17, 0.17, 8, 5, 0.59, 0.36)
A(dnw_test, mcon, 20.15, 12.415, 0.17, 0.17, 14, 1, 0.36, 0)
A(dnw_test, met1, 20.395, 6.43, 0.23, 2.27, 4, 1, 1.18, 0)
A(dnw_test, met1, 20.985, 6.43, 0.23, 1.62, 4, 1, 1.18, 0)
A(dnw_test, met1, 20.985, 8.35, 0.23, 3.225, 4, 1, 1.18, 0)
A(dnw_test, met1, 20.395, 9, 0.23, 2.575, 4, 1, 1.18, 0)
R(dnw_test, met1, [(19.96,5.35,25.16,5.75), (20.66,6.04,24.49,6.27), (20.86,8.05,21.26,8.35), (22.11,8.05,22.51,8.35), (23.26,8.05,23.66,8.35), (24.46,8.05,24.86,8.35), (20.31,8.7,20.71,9), (21.51,8.7,21.91,9), (22.66,8.7,23.06,9), (23.86,8.7,24.26,9), (20.66,11.78,24.49,12.01), (19.855,12.32,25.3,12.67)])
A(dnw_test, via, 20.225, 5.475, 0.15, 0.15, 7, 1, 0.32, 0)
A(dnw_test, via, 20.17, 12.42, 0.15, 0.15, 7, 1, 0.32, 0)
R(dnw_test, via, [(20.985,8.125,21.135,8.275), (22.235,8.125,22.385,8.275), (23.385,8.125,23.535,8.275), (24.585,8.125,24.735,8.275), (20.435,8.775,20.585,8.925), (21.635,8.775,21.785,8.925), (22.785,8.775,22.935,8.925), (23.985,8.775,24.135,8.925)])
R(dnw_test, met2, [(19.96,5.35,22.56,5.75), (20.86,8.05,21.26,8.1), (22.11,8.05,22.51,8.1), (23.26,8.05,23.66,8.1), (24.46,8.05,24.86,8.1), (20.86,8.1,24.81,8.3), (20.86,8.3,21.26,8.35), (22.11,8.3,22.51,8.35), (23.26,8.3,23.66,8.35), (24.46,8.3,24.86,8.35), (20.31,8.7,20.71,8.75), (21.51,8.7,21.91,8.75), (22.66,8.7,23.06,8.75), (23.86,8.7,24.26,8.75), (20.36,8.75,24.26,8.95), (20.31,8.95,20.71,9), (21.51,8.95,21.91,9), (22.66,8.95,23.06,9), (23.86,8.95,24.26,9), (19.855,12.32,22.575,12.67)])
A(dnw_test, via2, 20.16, 5.45, 0.2, 0.2, 6, 1, 0.4, 0)
A(dnw_test, via2, 20.105, 12.395, 0.2, 0.2, 6, 1, 0.4, 0)
R(dnw_test, met3, [(20.11,2.65,20.71,5.35), (19.96,5.35,22.56,5.75), (19.855,12.32,22.575,12.67), (20.26,12.67,20.86,15.65), (25.61,17.15,26.81,42.65), (23.31,17.2,24.51,42.7)])
R(dnw_test, nsdm, [(17.035,3.07,28.115,3.69), (17.035,3.69,17.655,14.69), (27.495,3.69,28.115,14.69), (20.24,6.305,24.91,7.555), (19.73,8.535,25.42,8.955), (19.73,8.955,20.15,12.195), (25,8.955,25.42,12.195), (19.73,12.195,25.42,12.615), (17.035,14.69,28.115,15.31)])
R(dnw_test, psdm, [(19.73,5.435,25.42,5.855), (19.73,5.855,20.15,8.005), (25,5.855,25.42,8.005), (19.73,8.005,25.42,8.425), (20.24,9.45,24.91,11.7)])
R(dnw_test, npc, [(20.62,5.97,24.53,6.34), (20.62,11.71,24.53,12.08)])
dnw_test.add(gdstk.Reference(sky130_fd_pr__pfet_01v8_, (19.545,22.965)))
dnw_test.add(gdstk.Reference(sky130_fd_pr__nfet_01v8_, (19.545,19.07)))
dnw_test.add(gdstk.Reference(cmota_1_flat_1, (-13.88,15.9)))

sky130_fd_pr__res_xhigh_ = lib.new_cell('sky130_fd_pr__res_xhigh_po_0p35_KL8RQM')
R(sky130_fd_pr__res_xhigh_, tap, [(-8.71,-4.49,8.71,-4.32), (-8.71,-4.32,-8.54,4.32), (8.54,-4.32,8.71,4.32), (-8.71,4.32,8.71,4.49)])
A(sky130_fd_pr__res_xhigh_, poly_res, -7.23, -1.16, 1.18, 0.35, 9, 1, 1.66, 0)
A(sky130_fd_pr__res_xhigh_, poly_res, -7.23, -0.81, 0.35, 4.3, 18, 1, 0.83, 0)
A(sky130_fd_pr__res_xhigh_, poly_res, -8.06, 3.49, 1.18, 0.35, 10, 1, 1.66, 0)
R(sky130_fd_pr__res_xhigh_, poly_res, [(-8.06,-1.74,-7.71,3.49), (7.71,-1.74,8.06,3.49)])
A(sky130_fd_pr__res_xhigh_, poly, -7.23, -1.16, 1.18, 0.35, 9, 1, 1.66, 0)
A(sky130_fd_pr__res_xhigh_, poly, -7.23, -0.81, 0.35, 4.3, 18, 1, 0.83, 0)
A(sky130_fd_pr__res_xhigh_, poly, -8.06, 3.49, 1.18, 0.35, 10, 1, 1.66, 0)
R(sky130_fd_pr__res_xhigh_, poly, [(-8.06,-3.84,-7.71,3.49), (7.71,-3.84,8.06,3.49)])
A(sky130_fd_pr__res_xhigh_, licon, -8.075, -4.49, 0.17, 0.17, 48, 2, 0.34, 8.81)
A(sky130_fd_pr__res_xhigh_, licon, -8.71, -3.995, 0.17, 0.17, 1, 24, 0, 0.34)
A(sky130_fd_pr__res_xhigh_, licon, 8.54, -3.995, 0.17, 0.17, 1, 24, 0, 0.34)
R(sky130_fd_pr__res_xhigh_, licon, [(-7.98,-3.76,-7.79,-1.76), (7.79,-3.76,7.98,-1.76)])
R(sky130_fd_pr__res_xhigh_, li1, [(-8.71,-4.49,8.71,-4.32), (-8.71,-4.32,-8.54,4.32), (8.54,-4.32,8.71,4.32), (-8.06,-3.84,-7.71,-1.68), (7.71,-3.84,8.06,-1.68), (-8.71,4.32,8.71,4.49)])
R(sky130_fd_pr__res_xhigh_, urpm, [(-8.52,-4.04,-7.25,-1.62), (7.25,-4.04,8.52,-1.62), (-8.52,-1.62,8.52,3.29), (-8.26,3.29,8.26,4.04)])
R(sky130_fd_pr__res_xhigh_, psdm, [(-8.835,-4.615,8.835,-4.195), (-8.835,-4.195,-7.6,-1.27), (7.6,-4.195,8.835,-1.27), (-8.835,-1.27,8.835,4.615)])
A(sky130_fd_pr__res_xhigh_, npc, -7.325, -1.255, 1.37, 0.54, 9, 1, 1.66, 0)
A(sky130_fd_pr__res_xhigh_, npc, -7.325, -0.715, 0.54, 4.11, 18, 1, 0.83, 0)
A(sky130_fd_pr__res_xhigh_, npc, -8.155, 3.395, 1.37, 0.54, 10, 1, 1.66, 0)
R(sky130_fd_pr__res_xhigh_, npc, [(-8.155,-3.935,-7.615,3.395), (7.615,-3.935,8.155,3.395)])
R(sky130_fd_pr__res_xhigh_, boundary, [(-8.625,-4.405,8.625,4.405)])

qcs_unit1_flat_dnw = lib.new_cell('QCS_unit1_flat_dnw')
R(qcs_unit1_flat_dnw, dnwell, [(8,-3,18,7)])
R(qcs_unit1_flat_dnw, nwell, [(7.6,-3.4,18.4,-1.97), (7.6,-1.97,9.03,5.97), (16.97,-1.97,18.4,5.97), (10.735,-0.265,15.265,0.825), (10.735,0.825,11.995,3.055), (14.005,0.825,15.265,3.055), (10.735,3.055,15.265,4.265), (7.6,5.97,18.4,7.4)])
R(qcs_unit1_flat_dnw, diff, [(12.635,1.635,13.365,2.055)])
R(qcs_unit1_flat_dnw, tap, [(7.785,-3.215,18.215,-2.845), (7.785,-2.845,8.155,6.845), (17.845,-2.845,18.215,6.845), (10.915,-0.085,15.085,0.085), (10.915,0.085,11.085,3.915), (14.915,0.085,15.085,3.915), (12.125,1.075,13.875,1.245), (12.125,1.245,12.295,2.755), (13.705,1.245,13.875,2.755), (12.125,2.755,13.875,2.925), (10.915,3.915,15.085,4.085), (7.785,6.845,18.215,7.215)])
R(qcs_unit1_flat_dnw, poly, [(12.925,1.505,13.075,2.165), (12.835,2.165,13.165,2.495)])
A(qcs_unit1_flat_dnw, licon, 8.325, -3.115, 0.17, 0.17, 28, 2, 0.34, 10.06)
A(qcs_unit1_flat_dnw, licon, 7.885, -2.675, 0.17, 0.17, 1, 28, 0, 0.34)
A(qcs_unit1_flat_dnw, licon, 17.945, -2.675, 0.17, 0.17, 1, 28, 0, 0.34)
A(qcs_unit1_flat_dnw, licon, 11.215, -0.085, 0.17, 0.17, 11, 2, 0.34, 4)
A(qcs_unit1_flat_dnw, licon, 10.915, 0.215, 0.17, 0.17, 1, 11, 0, 0.34)
A(qcs_unit1_flat_dnw, licon, 14.915, 0.215, 0.17, 0.17, 1, 11, 0, 0.34)
A(qcs_unit1_flat_dnw, licon, 12.125, 1.575, 0.17, 0.17, 1, 3, 0, 0.34)
A(qcs_unit1_flat_dnw, licon, 13.705, 1.575, 0.17, 0.17, 1, 3, 0, 0.34)
R(qcs_unit1_flat_dnw, licon, [(12.745,1.075,12.915,1.245), (13.085,1.075,13.255,1.245), (12.695,1.76,12.865,1.93), (13.135,1.76,13.305,1.93), (12.915,2.245,13.085,2.415), (12.745,2.755,12.915,2.925), (13.085,2.755,13.255,2.925)])
R(qcs_unit1_flat_dnw, li1, [(7.885,-3.115,18.115,-2.945), (7.885,-2.945,8.055,6.945), (17.945,-2.945,18.115,6.945), (10.915,-0.085,15.085,0.085), (10.915,0.085,11.085,3.915), (14.915,0.085,15.085,3.915), (12.125,1.075,13.875,1.245), (12.125,1.245,12.295,2.755), (13.705,1.245,13.875,2.755), (12.695,1.615,12.865,2.075), (13.135,1.615,13.305,2.075), (12.835,2.245,13.165,2.415), (12.125,2.755,13.875,2.925), (10.915,3.915,15.085,4.085), (7.885,6.945,18.115,7.115)])
R(qcs_unit1_flat_dnw, mcon, [(12.695,1.76,12.865,1.93), (13.135,1.76,13.305,1.93), (12.915,2.245,13.085,2.415)])
R(qcs_unit1_flat_dnw, met1, [(12.035,0.985,13.965,1.245), (12.035,1.245,12.295,2.925), (13.705,1.245,13.965,2.925), (12.595,1.615,12.895,2.075), (13.105,1.615,13.405,2.075), (12.795,2.215,13.205,2.535)])
A(qcs_unit1_flat_dnw, via, 12.445, 1.04, 0.15, 0.15, 4, 1, 0.32, 0)
A(qcs_unit1_flat_dnw, via, 12.09, 1.53, 0.15, 0.15, 1, 4, 0, 0.32)
A(qcs_unit1_flat_dnw, via, 13.76, 1.53, 0.15, 0.15, 1, 4, 0, 0.32)
R(qcs_unit1_flat_dnw, via, [(12.69,1.77,12.84,1.92), (13.16,1.77,13.31,1.92), (12.92,2.3,13.07,2.45)])
R(qcs_unit1_flat_dnw, met2, [(12.035,0.885,13.965,1.245), (12.035,1.245,12.295,2.925), (13.705,1.245,13.965,2.925), (12.595,1.615,12.895,2.075), (13.105,1.615,13.405,2.075), (12.795,2.215,13.205,2.635)])
A(qcs_unit1_flat_dnw, via2, 12.3, 0.965, 0.2, 0.2, 4, 1, 0.4, 0)
R(qcs_unit1_flat_dnw, via2, [(12.655,1.745,12.855,1.945), (13.145,1.745,13.345,1.945), (12.895,2.385,13.095,2.585)])
R(qcs_unit1_flat_dnw, met3, [(12.035,0.885,13.965,1.245), (12.585,1.615,13.415,2.015), (12.795,2.315,13.205,3.035)])
R(qcs_unit1_flat_dnw, nsdm, [(7.66,-3.34,18.34,-2.72), (7.66,-2.72,8.28,6.72), (17.72,-2.72,18.34,6.72), (10.79,-0.21,15.21,0.21), (10.79,0.21,11.21,3.79), (14.79,0.21,15.21,3.79), (12.51,1.51,13.49,2.18), (10.79,3.79,15.21,4.21), (7.66,6.72,18.34,7.34)])
R(qcs_unit1_flat_dnw, psdm, [(12,0.95,14,1.37), (12,1.37,12.42,2.63), (13.58,1.37,14,2.63), (12,2.63,14,3.05)])
R(qcs_unit1_flat_dnw, npc, [(12.815,2.145,13.185,2.515)])

test_top1 = lib.new_cell('test_top1')
R(test_top1, met3, [(5.8,-29.4,21.21,-2.13), (-2.32,-2.13,21.21,7.92), (-2.32,7.92,21.17,12.46)])
A(test_top1, via3, 7.89, -27.605, 0.2, 0.2, 29, 84, 0.4, 0.4)
R(test_top1, met4, [(5.8,-29.4,21.21,-2.13), (-2.32,-2.13,21.21,7.92), (-2.32,7.92,21.17,12.46)])
A(test_top1, via4, 8.39, -27.305, 0.8, 0.8, 7, 21, 1.6, 1.6)
R(test_top1, met5, [(5.8,-29.4,21.21,-2.13), (-2.32,-2.13,21.21,7.92), (-2.32,7.92,21.17,12.46)])
R(test_top1, capm, [(7.03,-28.28,20.04,-1.03), (-1.16,-1.03,20.04,11.66)])
R(test_top1, cap2m, [(7.03,-28.28,20.04,-1.03), (-1.16,-1.03,20.04,11.66)])
test_top1.add(gdstk.Reference(dnw_test, (-23.69,-0.69), x_reflection=True))
test_top1.add(gdstk.Reference(cmota_1_flat_1, (-37.44,30.63)))
test_top1.add(gdstk.Reference(sky130_fd_pr__res_xhigh_, (6.47,6.85), x_reflection=True))
test_top1.add(gdstk.Reference(qcs_unit1_flat_dnw, (-22.77,4.98)))
test_top1.add(gdstk.Reference(cmota_1_flat_1, (-7.72,30.63)))

lib.write_gds('test_top1.gds')
